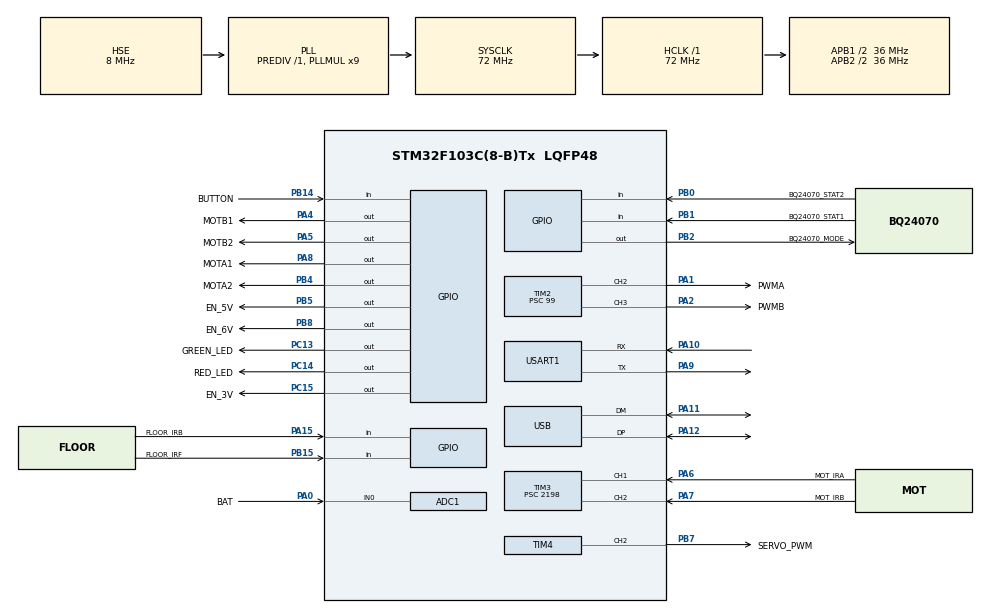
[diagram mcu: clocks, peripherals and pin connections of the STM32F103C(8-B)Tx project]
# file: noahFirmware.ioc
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ADC1.Channel-1\#ChannelRegularConversion=ADC_CHANNEL_0
ADC1.ContinuousConvMode=ENABLE
ADC1.NbrOfConversionFlag=1
ADC1.Rank-1\#ChannelRegularConversion=1
ADC1.SamplingTime-1\#ChannelRegularConversion=ADC_SAMPLETIME_1CYCLE_5
ADC1.master=1
Dma.Request0=TIM3_CH1/TRIG
Dma.Request1=TIM3_CH4/UP
Dma.Request2=USART1_RX
Dma.TIM3_CH1/TRIG.0.Direction=DMA_PERIPH_TO_MEMORY
Dma.TIM3_CH1/TRIG.0.Instance=DMA1_Channel6
Dma.TIM3_CH1/TRIG.0.MemDataAlignment=DMA_MDATAALIGN_HALFWORD
Dma.TIM3_CH1/TRIG.0.MemInc=DMA_MINC_ENABLE
Dma.TIM3_CH1/TRIG.0.Mode=DMA_NORMAL
Dma.TIM3_CH1/TRIG.0.PeriphDataAlignment=DMA_PDATAALIGN_HALFWORD
Dma.TIM3_CH1/TRIG.0.PeriphInc=DMA_PINC_DISABLE
Dma.TIM3_CH1/TRIG.0.Priority=DMA_PRIORITY_LOW
Dma.TIM3_CH4/UP.1.Direction=DMA_PERIPH_TO_MEMORY
Dma.TIM3_CH4/UP.1.Instance=DMA1_Channel3
Dma.TIM3_CH4/UP.1.MemDataAlignment=DMA_MDATAALIGN_HALFWORD
Dma.TIM3_CH4/UP.1.MemInc=DMA_MINC_ENABLE
Dma.TIM3_CH4/UP.1.Mode=DMA_CIRCULAR
Dma.TIM3_CH4/UP.1.PeriphDataAlignment=DMA_PDATAALIGN_HALFWORD
Dma.TIM3_CH4/UP.1.PeriphInc=DMA_PINC_DISABLE
Dma.TIM3_CH4/UP.1.Priority=DMA_PRIORITY_LOW
Dma.USART1_RX.2.Direction=DMA_PERIPH_TO_MEMORY
Dma.USART1_RX.2.Instance=DMA1_Channel5
Dma.USART1_RX.2.MemDataAlignment=DMA_MDATAALIGN_BYTE
Dma.USART1_RX.2.MemInc=DMA_MINC_ENABLE
Dma.USART1_RX.2.Mode=DMA_CIRCULAR
Dma.USART1_RX.2.PeriphDataAlignment=DMA_PDATAALIGN_BYTE
Dma.USART1_RX.2.PeriphInc=DMA_PINC_DISABLE
Dma.USART1_RX.2.Priority=DMA_PRIORITY_LOW
FREERTOS.Mutexes01=led_mutex,Dynamic,NULL
FREERTOS.Tasks01=StartTask,0,128,start_tsk,Default,NULL,Dynamic,NULL,NULL;PowerManagement,-1,512,PowerMgmt_tsk,Default,NULL,Dynamic,NULL,NULL;Button,0,256,Button_tsk,Default,NULL,Dynamic,NULL,NULL;Battery,-2,128,Battery_tsk,Default,NULL,Dynamic,NULL,NULL;MotionControl,0,256,Motion_tsk,Default,NULL,Dynamic,NULL,NULL;UARTComms,0,256,Uart_tsk,Default,NULL,Dynamic,NULL,NULL;IRFloor,0,256,Ir_floor_tsk,Default,NULL,Dynamic,NULL,NULL
FREERTOS.configTOTAL_HEAP_SIZE=8192
Mcu.Family=STM32F1
Mcu.Name=STM32F103C(8-B)Tx
Mcu.Package=LQFP48
NVIC.ADC1_2_IRQn=true\:5\:0\:false\:false\:true\:true\:true\:true
NVIC.DMA1_Channel3_IRQn=true\:5\:0\:false\:false\:true\:true\:false\:true
NVIC.DMA1_Channel5_IRQn=true\:5\:0\:false\:false\:true\:true\:false\:true
NVIC.DMA1_Channel6_IRQn=true\:5\:0\:false\:false\:true\:true\:false\:true
NVIC.PriorityGroup=NVIC_PRIORITYGROUP_4
NVIC.TIM1_UP_IRQn=true\:0\:0\:false\:false\:true\:false\:false\:true
NVIC.TIM2_IRQn=true\:5\:0\:false\:false\:true\:true\:true\:true
NVIC.TIM3_IRQn=true\:5\:0\:false\:false\:true\:true\:true\:true
NVIC.TimeBase=TIM1_UP_IRQn
NVIC.TimeBaseIP=TIM1
NVIC.USB_LP_CAN1_RX0_IRQn=true\:5\:0\:false\:false\:true\:true\:false\:true
PA0-WKUP.GPIO_Label=BAT
PA0-WKUP.Signal=ADCx_IN0
PA1.GPIO_Label=PWMA
PA1.Signal=S_TIM2_CH2
PA10.Mode=Asynchronous
PA10.Signal=USART1_RX
PA11.Mode=Device
PA11.Signal=USB_DM
PA12.Mode=Device
PA12.Signal=USB_DP
PA13.Mode=Serial_Wire
PA13.Signal=SYS_JTMS-SWDIO
PA14.Mode=Serial_Wire
PA14.Signal=SYS_JTCK-SWCLK
PA15.GPIO_Label=FLOOR_IRB
PA15.Signal=GPIO_Input
PA2.GPIO_Label=PWMB
PA2.Signal=S_TIM2_CH3
PA4.GPIO_Label=MOTB1
PA4.Signal=GPIO_Output
PA5.GPIO_Label=MOTB2
PA5.Signal=GPIO_Output
PA6.GPIO_Label=MOT_IRA
PA6.Signal=S_TIM3_CH1
PA7.GPIO_Label=MOT_IRB
PA7.Signal=S_TIM3_CH2
PA8.GPIO_Label=MOTA1
PA8.Signal=GPIO_Output
PA9.Mode=Asynchronous
PA9.Signal=USART1_TX
PB0.GPIO_Label=BQ24070_STAT2
PB0.GPIO_PuPd=GPIO_PULLUP
PB0.Signal=GPIO_Input
PB1.GPIO_Label=BQ24070_STAT1
PB1.GPIO_PuPd=GPIO_PULLUP
PB1.Signal=GPIO_Input
PB14.GPIO_Label=BUTTON
PB14.Signal=GPIO_Input
PB15.GPIO_Label=FLOOR_IRF
PB15.Signal=GPIO_Input
PB2.GPIO_Label=BQ24070_MODE
PB2.Signal=GPIO_Output
PB4.GPIO_Label=MOTA2
PB4.Signal=GPIO_Output
PB5.GPIO_Label=EN_5V
PB5.Signal=GPIO_Output
PB7.GPIO_Label=SERVO_PWM
PB7.Signal=S_TIM4_CH2
PB8.GPIO_Label=EN_6V
PB8.Signal=GPIO_Output
PC13-TAMPER-RTC.GPIO_Label=GREEN_LED
PC13-TAMPER-RTC.Signal=GPIO_Output
PC14-OSC32_IN.GPIO_Label=RED_LED
PC14-OSC32_IN.Signal=GPIO_Output
PC15-OSC32_OUT.GPIO_Label=EN_3V
PC15-OSC32_OUT.Signal=GPIO_Output
PD0-OSC_IN.Mode=HSE-External-Oscillator
PD0-OSC_IN.Signal=RCC_OSC_IN
PD1-OSC_OUT.Mode=HSE-External-Oscillator
PD1-OSC_OUT.Signal=RCC_OSC_OUT
ProjectManager.HeapSize=0x200
ProjectManager.StackSize=0x400
ProjectManager.TargetToolchain=Makefile
RCC.ADCPresc=RCC_ADCPCLK2_DIV6
RCC.AHBFreq_Value=72000000
RCC.APB1CLKDivider=RCC_HCLK_DIV2
RCC.APB1Freq_Value=36000000
RCC.APB1TimFreq_Value=72000000
RCC.APB2CLKDivider=RCC_HCLK_DIV2
RCC.APB2Freq_Value=36000000
RCC.APB2TimFreq_Value=72000000
RCC.HCLKFreq_Value=72000000
RCC.PLLMUL=RCC_PLL_MUL9
RCC.PLLSourceVirtual=RCC_PLLSOURCE_HSE
RCC.SYSCLKFreq_VALUE=72000000
RCC.SYSCLKSource=RCC_SYSCLKSOURCE_PLLCLK
RCC.USBFreq_Value=48000000
RCC.USBPrescaler=RCC_USBCLKSOURCE_PLL_DIV1_5
SH.ADCx_IN0.0=ADC1_IN0,IN0
SH.S_TIM2_CH2.0=TIM2_CH2,PWM Generation2 CH2
SH.S_TIM2_CH3.0=TIM2_CH3,PWM Generation3 CH3
SH.S_TIM3_CH1.0=TIM3_CH1,Input_Capture1_from_TI1
SH.S_TIM3_CH2.0=TIM3_CH2,Input_Capture2_from_TI2
SH.S_TIM4_CH2.0=TIM4_CH2,PWM Generation2 CH2
TIM2.AutoReloadPreload=TIM_AUTORELOAD_PRELOAD_ENABLE
TIM2.Channel-PWM\ Generation2\ CH2=TIM_CHANNEL_2
TIM2.Channel-PWM\ Generation3\ CH3=TIM_CHANNEL_3
TIM2.OCFastMode_PWM-PWM\ Generation2\ CH2=TIM_OCFAST_ENABLE
TIM2.OCFastMode_PWM-PWM\ Generation3\ CH3=TIM_OCFAST_ENABLE
TIM2.Period=71
TIM2.Prescaler=99
TIM3.AutoReloadPreload=TIM_AUTORELOAD_PRELOAD_DISABLE
TIM3.Channel-Input_Capture1_from_TI1=TIM_CHANNEL_1
TIM3.Channel-Input_Capture2_from_TI2=TIM_CHANNEL_2
TIM3.ICPolarity_CH1=TIM_INPUTCHANNELPOLARITY_FALLING
TIM3.ICPolarity_CH2=TIM_INPUTCHANNELPOLARITY_FALLING
TIM3.Prescaler=2198
TIM4.AutoReloadPreload=TIM_AUTORELOAD_PRELOAD_ENABLE
TIM4.Channel-PWM\ Generation2\ CH2=TIM_CHANNEL_2
TIM4.ClockDivision=TIM_CLOCKDIVISION_DIV4
TIM4.Period=3599
TIM4.Prescaler=99
USART1.VirtualMode=VM_ASYNC
USB.low_power_enable=DISABLE
USB.lpm_enable=DISABLE
USB_DEVICE.CLASS_NAME_FS=CDC
USB_DEVICE.MANUFACTURER_STRING=Noone
USB_DEVICE.PRODUCT_STRING_CDC_FS=Noah robot
USB_DEVICE.VirtualMode=Cdc
USB_DEVICE.VirtualModeFS=Cdc_FS
VP_FREERTOS_VS_CMSIS_V1.Mode=CMSIS_V1
VP_SYS_VS_tim1.Mode=TIM1
VP_TIM2_VS_ClockSourceINT.Mode=Internal
VP_TIM2_VS_ClockSourceITR.Mode=TriggerSource_ITR0
VP_TIM3_VS_ClockSourceINT.Mode=Internal
VP_TIM4_VS_ClockSourceINT.Mode=Internal
VP_USB_DEVICE_VS_USB_DEVICE_CDC_FS.Mode=CDC_FS
board=custom

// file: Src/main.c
/* USER CODE BEGIN Header */
/**
  ******************************************************************************
  * @file           : main.c
  * @brief          : Main program body
  ******************************************************************************
  * @attention
  *
  * <h2><center>&copy; Copyright (c) 2019 STMicroelectronics.
  * All rights reserved.</center></h2>
  *
  * This software component is licensed by ST under Ultimate Liberty license
  * SLA0044, the "License"; You may not use this file except in compliance with
  * the License. You may obtain a copy of the License at:
  *                             www.st.com/SLA0044
  *
  ******************************************************************************
  */
/* USER CODE END Header */

#include "main.h"
#include "cmsis_os.h"
#include "adc.h"
#include "dma.h"
#include "tim.h"
#include "usart.h"
#include "usb_device.h"
#include "gpio.h"

/* USER CODE BEGIN Includes */
//Noah libraries
#include "IRMotion.h"
/* USER CODE END Includes */

void SystemClock_Config(void);
void MX_FREERTOS_Init(void);

int main(void)
{

  /* MCU Configuration--------------------------------------------------------*/

  /* Reset of all peripherals, Initializes the Flash interface and the Systick. */
  HAL_Init();

  /* Configure the system clock */
  SystemClock_Config();

  /* Initialize all configured peripherals */
  MX_GPIO_Init();
  MX_ADC1_Init();
  MX_TIM2_Init();
  MX_TIM3_Init();
  MX_DMA_Init();
  MX_USART1_UART_Init();
  MX_TIM4_Init();

  /* Call init function for freertos objects (in freertos.c) */
  MX_FREERTOS_Init();

  /* Start scheduler */
  osKernelStart();

  /* We should never get here as control is now taken by the scheduler */

  /* Infinite loop */
  while (1)
  {

  }
}

void SystemClock_Config(void)
{
  RCC_OscInitTypeDef RCC_OscInitStruct = {0};
  RCC_ClkInitTypeDef RCC_ClkInitStruct = {0};
  RCC_PeriphCLKInitTypeDef PeriphClkInit = {0};

  /** Initializes the CPU, AHB and APB busses clocks
  */
  RCC_OscInitStruct.OscillatorType = RCC_OSCILLATORTYPE_HSE;
  RCC_OscInitStruct.HSEState = RCC_HSE_ON;
  RCC_OscInitStruct.HSEPredivValue = RCC_HSE_PREDIV_DIV1;
  RCC_OscInitStruct.HSIState = RCC_HSI_ON;
  RCC_OscInitStruct.PLL.PLLState = RCC_PLL_ON;
  RCC_OscInitStruct.PLL.PLLSource = RCC_PLLSOURCE_HSE;
  RCC_OscInitStruct.PLL.PLLMUL = RCC_PLL_MUL9;
  if (HAL_RCC_OscConfig(&RCC_OscInitStruct) != HAL_OK)
  {
    Error_Handler();
  }
  /** Initializes the CPU, AHB and APB busses clocks
  */
  RCC_ClkInitStruct.ClockType = RCC_CLOCKTYPE_HCLK|RCC_CLOCKTYPE_SYSCLK
                              |RCC_CLOCKTYPE_PCLK1|RCC_CLOCKTYPE_PCLK2;
  RCC_ClkInitStruct.SYSCLKSource = RCC_SYSCLKSOURCE_PLLCLK;
  RCC_ClkInitStruct.AHBCLKDivider = RCC_SYSCLK_DIV1;
  RCC_ClkInitStruct.APB1CLKDivider = RCC_HCLK_DIV2;
  RCC_ClkInitStruct.APB2CLKDivider = RCC_HCLK_DIV2;

  if (HAL_RCC_ClockConfig(&RCC_ClkInitStruct, FLASH_LATENCY_2) != HAL_OK)
  {
    Error_Handler();
  }
  PeriphClkInit.PeriphClockSelection = RCC_PERIPHCLK_ADC|RCC_PERIPHCLK_USB;
  PeriphClkInit.AdcClockSelection = RCC_ADCPCLK2_DIV6;
  PeriphClkInit.UsbClockSelection = RCC_USBCLKSOURCE_PLL_DIV1_5;
  if (HAL_RCCEx_PeriphCLKConfig(&PeriphClkInit) != HAL_OK)
  {
    Error_Handler();
  }
}

void HAL_TIM_PeriodElapsedCallback(TIM_HandleTypeDef *htim)
{
  if (htim->Instance == TIM1) {
    HAL_IncTick();
  }
  /* USER CODE BEGIN Callback 1 */
  if (htim->Instance == TIM3)
  {
    irmotion_timer_overflow_handler();
  }
  /* USER CODE END Callback 1 */
}

void Error_Handler(void)
{
}

/************************ (C) COPYRIGHT STMicroelectronics *****END OF FILE****/

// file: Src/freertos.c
/* USER CODE BEGIN Header */
/**
 ******************************************************************************
 * File Name          : freertos.c
 * Description        : Code for freertos applications
 ******************************************************************************
 * @attention
 *
 * <h2><center>&copy; Copyright (c) 2019 STMicroelectronics.
 * All rights reserved.</center></h2>
 *
 * This software component is licensed by ST under Ultimate Liberty license
 * SLA0044, the "License"; You may not use this file except in compliance with
 * the License. You may obtain a copy of the License at:
 *                             www.st.com/SLA0044
 *
 ******************************************************************************
 */
/* USER CODE END Header */

#include "FreeRTOS.h"
#include "task.h"
#include "main.h"
#include "cmsis_os.h"

/* USER CODE BEGIN Includes */

// Standard libraries
#include "stdbool.h"

// CMSIS Libraries

// Noone libraries
#include "Config.h"

/* USER CODE END Includes */

/* USER CODE BEGIN Variables */
float      motorKP, motorKI, motorKD;
float      targetSpeedL, targetSpeedR;
osThreadId thread_id;
/* USER CODE END Variables */
osThreadId StartTaskHandle;
osThreadId PowerManagementHandle;
osThreadId ButtonHandle;
osThreadId BatteryHandle;
osThreadId MotionControlHandle;
osThreadId UARTCommsHandle;
osThreadId IRFloorHandle;
osMutexId led_mutexHandle;

void start_tsk(void const * argument);
void PowerMgmt_tsk(void const * argument);
void Button_tsk(void const * argument);
void Battery_tsk(void const * argument);
void Motion_tsk(void const * argument);
void Uart_tsk(void const * argument);
void Ir_floor_tsk(void const * argument);

extern void MX_USB_DEVICE_Init(void);
void MX_FREERTOS_Init(void); /* (MISRA C 2004 rule 8.1) */

/* GetIdleTaskMemory prototype (linked to static allocation support) */
void vApplicationGetIdleTaskMemory( StaticTask_t **ppxIdleTaskTCBBuffer, StackType_t **ppxIdleTaskStackBuffer, uint32_t *pulIdleTaskStackSize );

/* USER CODE BEGIN GET_IDLE_TASK_MEMORY */
static StaticTask_t xIdleTaskTCBBuffer;
static StackType_t  xIdleStack[configMINIMAL_STACK_SIZE];

void vApplicationGetIdleTaskMemory(StaticTask_t **ppxIdleTaskTCBBuffer, StackType_t **ppxIdleTaskStackBuffer,
                                   uint32_t *pulIdleTaskStackSize) {
    *ppxIdleTaskTCBBuffer = &xIdleTaskTCBBuffer;
    *ppxIdleTaskStackBuffer = &xIdleStack[0];
    *pulIdleTaskStackSize = configMINIMAL_STACK_SIZE;
    /* place for user code */
}
/* USER CODE END GET_IDLE_TASK_MEMORY */

void MX_FREERTOS_Init(void) {

  /* Create the mutex(es) */
  /* definition and creation of led_mutex */
  osMutexDef(led_mutex);
  led_mutexHandle = osMutexCreate(osMutex(led_mutex));

  /* Create the thread(s) */
  /* definition and creation of StartTask */
  osThreadDef(StartTask, start_tsk, osPriorityNormal, 0, 128);
  StartTaskHandle = osThreadCreate(osThread(StartTask), NULL);

  /* definition and creation of PowerManagement */
  osThreadDef(PowerManagement, PowerMgmt_tsk, osPriorityBelowNormal, 0, 512);
  PowerManagementHandle = osThreadCreate(osThread(PowerManagement), NULL);

  /* definition and creation of Button */
  osThreadDef(Button, Button_tsk, osPriorityNormal, 0, 256);
  ButtonHandle = osThreadCreate(osThread(Button), NULL);

  /* definition and creation of Battery */
  osThreadDef(Battery, Battery_tsk, osPriorityLow, 0, 128);
  BatteryHandle = osThreadCreate(osThread(Battery), NULL);

  /* definition and creation of MotionControl */
  osThreadDef(MotionControl, Motion_tsk, osPriorityNormal, 0, 256);
  MotionControlHandle = osThreadCreate(osThread(MotionControl), NULL);

  /* definition and creation of UARTComms */
  osThreadDef(UARTComms, Uart_tsk, osPriorityNormal, 0, 256);
  UARTCommsHandle = osThreadCreate(osThread(UARTComms), NULL);

  /* definition and creation of IRFloor */
  osThreadDef(IRFloor, Ir_floor_tsk, osPriorityNormal, 0, 256);
  IRFloorHandle = osThreadCreate(osThread(IRFloor), NULL);

}

void start_tsk(void const * argument)
{
  /* init code for USB_DEVICE */
  MX_USB_DEVICE_Init();
    for (;;) {
        osDelay(1);
    }
}

void PowerMgmt_tsk(void const * argument)
{
  /* USER CODE BEGIN PowerMgmt_tsk */
    /* Infinite loop */
    for (;;) {

        osDelay(POWER_MGMT_UPDATE_RATE_MS);
    }
  /* USER CODE END PowerMgmt_tsk */
}

void Button_tsk(void const * argument)
{
  /* USER CODE BEGIN Button_tsk */
    /* Infinite loop */
    for (;;) {
        osDelay(BUTTON_UPDATE_RATE_MS);
    }
  /* USER CODE END Button_tsk */
}

void Battery_tsk(void const * argument)
{
  /* USER CODE BEGIN Battery_tsk */
    /* Infinite loop */
    for (;;) {
        HAL_GPIO_TogglePin(GREEN_LED_GPIO_Port, GREEN_LED_Pin);
        HAL_GPIO_TogglePin(RED_LED_GPIO_Port, RED_LED_Pin);
        osDelay(BAT_CHECKING_UPDATE_RATE_MS);
    }
  /* USER CODE END Battery_tsk */
}

void Motion_tsk(void const * argument)
{
  /* USER CODE BEGIN Motion_tsk */
    /* Infinite loop */
    for (;;) {
        osDelay(MOTION_UPDATE_RATE);
    }
  /* USER CODE END Motion_tsk */
}

void Uart_tsk(void const * argument)
{
  /* USER CODE BEGIN Uart_tsk */
    /* Infinite loop */
    for (;;) {
        osDelay(UART_COMMS_UPDATE_RATE);
    }
  /* USER CODE END Uart_tsk */
}

void Ir_floor_tsk(void const * argument)
{
  /* USER CODE BEGIN Ir_floor_tsk */
    /* Infinite loop */
    for (;;) {
        osDelay(FLOOR_IR_UPDATE_RATE);
    }
  /* USER CODE END Ir_floor_tsk */
}

/************************ (C) COPYRIGHT STMicroelectronics *****END OF FILE****/
